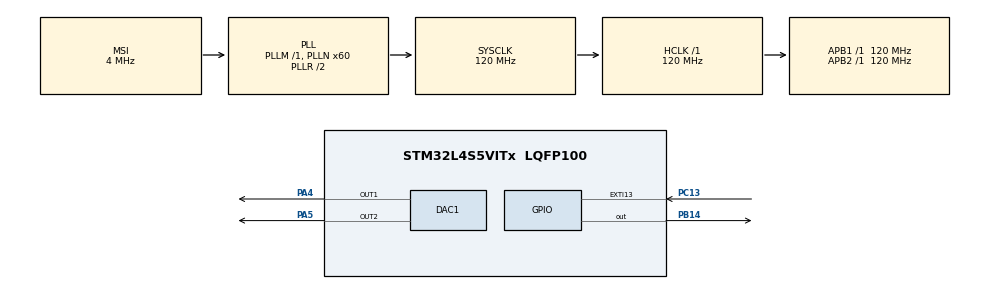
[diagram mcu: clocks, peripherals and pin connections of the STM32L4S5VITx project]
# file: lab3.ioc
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DAC1.DAC_Channel-DAC_OUT2=DAC_CHANNEL_2
DAC1.DAC_Trigger-DAC_OUT1=DAC_TRIGGER_T2_TRGO
Mcu.Family=STM32L4
Mcu.Name=STM32L4S5VITx
Mcu.Package=LQFP100
NVIC.EXTI15_10_IRQn=true\:0\:0\:false\:false\:true\:true\:true\:true
NVIC.PriorityGroup=NVIC_PRIORITYGROUP_4
NVIC.TIM2_IRQn=true\:0\:0\:false\:false\:true\:true\:true\:true
PA4.Signal=COMP_DAC11_group
PA5.Signal=COMP_DAC12_group
PB14.Signal=GPIO_Output
PC13.Signal=GPXTI13
ProjectManager.HeapSize=0x200
ProjectManager.StackSize=0x400
ProjectManager.TargetToolchain=STM32CubeIDE
RCC.ADCFreq_Value=48000000
RCC.AHBFreq_Value=120000000
RCC.APB1Freq_Value=120000000
RCC.APB1TimFreq_Value=120000000
RCC.APB2Freq_Value=120000000
RCC.APB2TimFreq_Value=120000000
RCC.CortexFreq_Value=120000000
RCC.HCLKFreq_Value=120000000
RCC.HSE_VALUE=8000000
RCC.HSI48_VALUE=48000000
RCC.HSI_VALUE=16000000
RCC.LSE_VALUE=32768
RCC.MSI_VALUE=4000000
RCC.PLLN=60
RCC.PLLSAI1N=24
RCC.SYSCLKFreq_VALUE=120000000
RCC.SYSCLKSource=RCC_SYSCLKSOURCE_PLLCLK
RCC.USBFreq_Value=48000000
RCC.VCOOutputFreq_Value=240000000
SH.COMP_DAC11_group.0=DAC1_OUT1,DAC_OUT1
SH.COMP_DAC12_group.0=DAC1_OUT2,DAC_OUT2
TIM2.TIM_MasterOutputTrigger=TIM_TRGO_UPDATE
VP_TIM2_VS_ClockSourceINT.Mode=Internal
board=B-L4S5I-IOT01A

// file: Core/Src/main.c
/* USER CODE BEGIN Header */
/**
  ******************************************************************************
  * @file           : main.c
  * @brief          : Main program body
  ******************************************************************************
  * @attention
  *
  * Copyright (c) 2024 STMicroelectronics.
  * All rights reserved.
  *
  * This software is licensed under terms that can be found in the LICENSE file
  * in the root directory of this software component.
  * If no LICENSE file comes with this software, it is provided AS-IS.
  *
  ******************************************************************************
  */
/* USER CODE END Header */
#include "main.h"

/* USER CODE BEGIN Includes */
#include "arm_math.h"
/* USER CODE END Includes */

DAC_HandleTypeDef hdac1;

TIM_HandleTypeDef htim2;

void SystemClock_Config(void);
static void MX_GPIO_Init(void);
static void MX_DAC1_Init(void);
static void MX_TIM2_Init(void);

/* USER CODE BEGIN 0 */
int32_t status = 0;

void HAL_GPIO_EXTI_Callback(uint16_t GPIO_Pin){
	if(GPIO_Pin == GPIO_PIN_13 && status == 0){
		status = 1;
		HAL_GPIO_WritePin(GPIOB, GPIO_PIN_14, GPIO_PIN_SET);
	}else if (GPIO_Pin == GPIO_PIN_13 && status == 1){
		HAL_GPIO_WritePin(GPIOB, GPIO_PIN_14, GPIO_PIN_RESET);
		status = 0;
	}
}
/* USER CODE END 0 */

int main(void)
{

  /* MCU Configuration--------------------------------------------------------*/

  /* Reset of all peripherals, Initializes the Flash interface and the Systick. */
  HAL_Init();

  /* Configure the system clock */
  SystemClock_Config();

  /* Initialize all configured peripherals */
  MX_GPIO_Init();
  MX_DAC1_Init();
  MX_TIM2_Init();
  /* USER CODE BEGIN 2 */
  int32_t saw = 0;
  int32_t triangle = 0;
  int32_t step = 10;
  float32_t phase = 0.0f;
  int32_t sine = 0;
  HAL_DAC_Start(&hdac1, DAC_CHANNEL_1);
  HAL_DAC_Start(&hdac1, DAC_CHANNEL_2);
  /* USER CODE END 2 */

  /* Infinite loop */
  while (1)
  {

    /* USER CODE BEGIN 3 */
	//sine wave
	float32_t sine_float = 100.0f * (arm_sin_f32(phase)+1.0f);//100 to prevent clipping at the top value
	sine = (uint32_t) sine_float;

	//set value for channel 1
	HAL_DAC_SetValue(&hdac1, DAC_CHANNEL_2, DAC_ALIGN_8B_R, saw);

	phase += 2 * 3.14159265f * 0.066;

	if(phase >= 2 * 3.14159265f){
		phase -= 2 * 3.14159265f;
	}

	saw += 10;

	//200 to prevent clipping at the top value
	if (saw >= 200) // Reset when max is reached (8-bit max)
	{
		saw = 0;
	}

	HAL_DAC_SetValue(&hdac1, DAC_CHANNEL_1, DAC_ALIGN_8B_R, triangle);
	triangle += step;

	//200 to prevent clipping at the top value
	if (triangle >= 200) // start decreasing when max is reached
	{
		step = -step;
		triangle = 200;
	}else if(triangle <=0){//start increasing when min is reached
		step = -step;
		triangle = 0;
	}
	HAL_Delay(15);
}
  /* USER CODE END 3 */
}

void SystemClock_Config(void)
{
  RCC_OscInitTypeDef RCC_OscInitStruct = {0};
  RCC_ClkInitTypeDef RCC_ClkInitStruct = {0};

  /** Configure the main internal regulator output voltage
  */
  if (HAL_PWREx_ControlVoltageScaling(PWR_REGULATOR_VOLTAGE_SCALE1_BOOST) != HAL_OK)
  {
    Error_Handler();
  }

  /** Initializes the RCC Oscillators according to the specified parameters
  * in the RCC_OscInitTypeDef structure.
  */
  RCC_OscInitStruct.OscillatorType = RCC_OSCILLATORTYPE_MSI;
  RCC_OscInitStruct.MSIState = RCC_MSI_ON;
  RCC_OscInitStruct.MSICalibrationValue = 0;
  RCC_OscInitStruct.MSIClockRange = RCC_MSIRANGE_6;
  RCC_OscInitStruct.PLL.PLLState = RCC_PLL_ON;
  RCC_OscInitStruct.PLL.PLLSource = RCC_PLLSOURCE_MSI;
  RCC_OscInitStruct.PLL.PLLM = 1;
  RCC_OscInitStruct.PLL.PLLN = 60;
  RCC_OscInitStruct.PLL.PLLP = RCC_PLLP_DIV2;
  RCC_OscInitStruct.PLL.PLLQ = RCC_PLLQ_DIV2;
  RCC_OscInitStruct.PLL.PLLR = RCC_PLLR_DIV2;
  if (HAL_RCC_OscConfig(&RCC_OscInitStruct) != HAL_OK)
  {
    Error_Handler();
  }

  /** Initializes the CPU, AHB and APB buses clocks
  */
  RCC_ClkInitStruct.ClockType = RCC_CLOCKTYPE_HCLK|RCC_CLOCKTYPE_SYSCLK
                              |RCC_CLOCKTYPE_PCLK1|RCC_CLOCKTYPE_PCLK2;
  RCC_ClkInitStruct.SYSCLKSource = RCC_SYSCLKSOURCE_PLLCLK;
  RCC_ClkInitStruct.AHBCLKDivider = RCC_SYSCLK_DIV1;
  RCC_ClkInitStruct.APB1CLKDivider = RCC_HCLK_DIV1;
  RCC_ClkInitStruct.APB2CLKDivider = RCC_HCLK_DIV1;

  if (HAL_RCC_ClockConfig(&RCC_ClkInitStruct, FLASH_LATENCY_5) != HAL_OK)
  {
    Error_Handler();
  }
}

static void MX_DAC1_Init(void)
{

  DAC_ChannelConfTypeDef sConfig = {0};

  /** DAC Initialization
  */
  hdac1.Instance = DAC1;
  if (HAL_DAC_Init(&hdac1) != HAL_OK)
  {
    Error_Handler();
  }

  /** DAC channel OUT1 config
  */
  sConfig.DAC_SampleAndHold = DAC_SAMPLEANDHOLD_DISABLE;
  sConfig.DAC_Trigger = DAC_TRIGGER_T2_TRGO;
  sConfig.DAC_HighFrequency = DAC_HIGH_FREQUENCY_INTERFACE_MODE_ABOVE_80MHZ;
  sConfig.DAC_OutputBuffer = DAC_OUTPUTBUFFER_ENABLE;
  sConfig.DAC_ConnectOnChipPeripheral = DAC_CHIPCONNECT_DISABLE;
  sConfig.DAC_UserTrimming = DAC_TRIMMING_FACTORY;
  if (HAL_DAC_ConfigChannel(&hdac1, &sConfig, DAC_CHANNEL_1) != HAL_OK)
  {
    Error_Handler();
  }

  /** DAC channel OUT2 config
  */
  sConfig.DAC_Trigger = DAC_TRIGGER_NONE;
  if (HAL_DAC_ConfigChannel(&hdac1, &sConfig, DAC_CHANNEL_2) != HAL_OK)
  {
    Error_Handler();
  }

}

static void MX_TIM2_Init(void)
{

  TIM_ClockConfigTypeDef sClockSourceConfig = {0};
  TIM_MasterConfigTypeDef sMasterConfig = {0};

  htim2.Instance = TIM2;
  htim2.Init.Prescaler = 0;
  htim2.Init.CounterMode = TIM_COUNTERMODE_UP;
  htim2.Init.Period = 4294967295;
  htim2.Init.ClockDivision = TIM_CLOCKDIVISION_DIV1;
  htim2.Init.AutoReloadPreload = TIM_AUTORELOAD_PRELOAD_DISABLE;
  if (HAL_TIM_Base_Init(&htim2) != HAL_OK)
  {
    Error_Handler();
  }
  sClockSourceConfig.ClockSource = TIM_CLOCKSOURCE_INTERNAL;
  if (HAL_TIM_ConfigClockSource(&htim2, &sClockSourceConfig) != HAL_OK)
  {
    Error_Handler();
  }
  sMasterConfig.MasterOutputTrigger = TIM_TRGO_UPDATE;
  sMasterConfig.MasterSlaveMode = TIM_MASTERSLAVEMODE_DISABLE;
  if (HAL_TIMEx_MasterConfigSynchronization(&htim2, &sMasterConfig) != HAL_OK)
  {
    Error_Handler();
  }

}

static void MX_GPIO_Init(void)
{
  GPIO_InitTypeDef GPIO_InitStruct = {0};

  /* GPIO Ports Clock Enable */
  __HAL_RCC_GPIOC_CLK_ENABLE();
  __HAL_RCC_GPIOA_CLK_ENABLE();
  __HAL_RCC_GPIOB_CLK_ENABLE();

  /*Configure GPIO pin Output Level */
  HAL_GPIO_WritePin(GPIOB, GPIO_PIN_14, GPIO_PIN_RESET);

  /*Configure GPIO pin : PC13 */
  GPIO_InitStruct.Pin = GPIO_PIN_13;
  GPIO_InitStruct.Mode = GPIO_MODE_IT_RISING;
  GPIO_InitStruct.Pull = GPIO_NOPULL;
  HAL_GPIO_Init(GPIOC, &GPIO_InitStruct);

  /*Configure GPIO pin : PB14 */
  GPIO_InitStruct.Pin = GPIO_PIN_14;
  GPIO_InitStruct.Mode = GPIO_MODE_OUTPUT_PP;
  GPIO_InitStruct.Pull = GPIO_NOPULL;
  GPIO_InitStruct.Speed = GPIO_SPEED_FREQ_LOW;
  HAL_GPIO_Init(GPIOB, &GPIO_InitStruct);

  /* EXTI interrupt init*/
  HAL_NVIC_SetPriority(EXTI15_10_IRQn, 0, 0);
  HAL_NVIC_EnableIRQ(EXTI15_10_IRQn);

}

void Error_Handler(void)
{
  __disable_irq();
  while (1)
  {
  }
}
